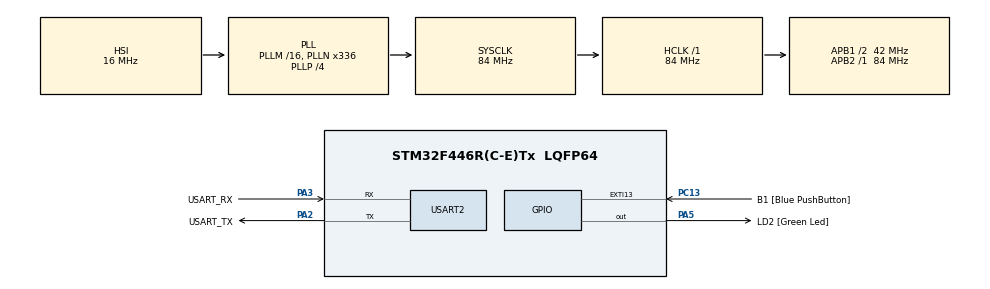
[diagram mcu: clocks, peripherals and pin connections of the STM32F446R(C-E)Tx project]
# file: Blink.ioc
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Mcu.Family=STM32F4
Mcu.Name=STM32F446R(C-E)Tx
Mcu.Package=LQFP64
NVIC.PriorityGroup=NVIC_PRIORITYGROUP_0
PA13.GPIO_Label=TMS
PA13.Mode=Serial_Wire
PA13.Signal=SYS_JTMS-SWDIO
PA14.GPIO_Label=TCK
PA14.Mode=Serial_Wire
PA14.Signal=SYS_JTCK-SWCLK
PA2.GPIO_Label=USART_TX
PA2.Mode=Asynchronous
PA2.Signal=USART2_TX
PA3.GPIO_Label=USART_RX
PA3.Mode=Asynchronous
PA3.Signal=USART2_RX
PA5.GPIO_Label=LD2 [Green Led]
PA5.Signal=GPIO_Output
PB3.GPIO_Label=SWO
PB3.Signal=SYS_JTDO-SWO
PC13.GPIO_Label=B1 [Blue PushButton]
PC13.GPIO_ModeDefaultEXTI=GPIO_MODE_IT_FALLING
PC13.Signal=GPXTI13
PC14-OSC32_IN.Mode=LSE-External-Oscillator
PC14-OSC32_IN.Signal=RCC_OSC32_IN
PC15-OSC32_OUT.Mode=LSE-External-Oscillator
PC15-OSC32_OUT.Signal=RCC_OSC32_OUT
PH0-OSC_IN.Mode=HSE-External-Oscillator
PH0-OSC_IN.Signal=RCC_OSC_IN
PH1-OSC_OUT.Mode=HSE-External-Oscillator
PH1-OSC_OUT.Signal=RCC_OSC_OUT
ProjectManager.HeapSize=0x200
ProjectManager.StackSize=0x400
ProjectManager.TargetToolchain=STM32CubeIDE
RCC.48MHZClocksFreq_Value=84000000
RCC.AHBFreq_Value=84000000
RCC.APB1CLKDivider=RCC_HCLK_DIV2
RCC.APB1Freq_Value=42000000
RCC.APB1TimFreq_Value=84000000
RCC.APB2Freq_Value=84000000
RCC.APB2TimFreq_Value=84000000
RCC.CortexFreq_Value=84000000
RCC.FLatency-AdvancedSettings=FLASH_LATENCY_2
RCC.HCLKFreq_Value=84000000
RCC.HSE_VALUE=8000000
RCC.HSI_VALUE=16000000
RCC.PLLN=336
RCC.PLLP=RCC_PLLP_DIV4
RCC.SYSCLKFreq_VALUE=84000000
RCC.SYSCLKSource=RCC_SYSCLKSOURCE_PLLCLK
RCC.USBFreq_Value=168000000
RCC.VCOOutputFreq_Value=336000000
USART2.VirtualMode=VM_ASYNC
board=NUCLEO-F446RE

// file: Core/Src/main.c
/* USER CODE BEGIN Header */
/**
  ******************************************************************************
  * @file           : main.c
  * @brief          : Main program body
  ******************************************************************************
  * @attention
  *
  * <h2><center>&copy; Copyright (c) 2021 STMicroelectronics.
  * All rights reserved.</center></h2>
  *
  * This software component is licensed by ST under BSD 3-Clause license,
  * the "License"; You may not use this file except in compliance with the
  * License. You may obtain a copy of the License at:
  *                        opensource.org/licenses/BSD-3-Clause
  *
  *	PC13 - user button B1
  *	PA5 - GREEN LED LD2
  *
  *
  ******************************************************************************
  */
/* USER CODE END Header */
#include "main.h"
#include <math.h>
#include <inttypes.h>
#include <stdlib.h>
#include <string.h>
#include "explode.h"

/* USER CODE BEGIN PD */
//#define PORT_A *((uint32_t*)(0x40000000UL+0x00020000UL+0x14))
#define ZERO 0
#define ONE 1

/* USER CODE END PD */

UART_HandleTypeDef huart2;

/* USER CODE BEGIN PV */
EXPLODE PINA;
EXPLODE PINB;
EXPLODE PINC;
EXPLODE PINH;

//doing everything again really pisses me off, why bother change to STM ?????

/* USER CODE END PV */

void SystemClock_Config(void);
static void MX_GPIO_Init(void);
static void MX_USART2_UART_Init(void);

int main(void)
{

  /* MCU Configuration--------------------------------------------------------*/

  /* Reset of all peripherals, Initializes the Flash interface and the Systick. */
  HAL_Init();

  /* Configure the system clock */
  SystemClock_Config();

  /* Initialize all configured peripherals */
  MX_GPIO_Init();
  MX_USART2_UART_Init();
  /* USER CODE BEGIN 2 */
  PINA = EXPLODEenable();
  PINB = EXPLODEenable();
  PINC = EXPLODEenable();
  PINH = EXPLODEenable();

  /* USER CODE END 2 */

  /* Infinite loop */
  /* USER CODE BEGIN WHILE */
  while (ONE)
  {
	  PINA.update(&PINA, GPIOA->IDR);
	  PINB.update(&PINB, GPIOB->IDR);
	  PINC.update(&PINC, GPIOC->IDR);
	  PINH.update(&PINH, GPIOH->IDR);

	  if(PINC.read(&PINC).LL & (ONE << 13)){
		  //GPIOA->ODR ^= (ONE << 5);
		  GPIOA->BSRR = (ONE << 5);
		  HAL_Delay(100);
	  	  GPIOA->BSRR = (ONE << (5+16));
	  	  HAL_Delay(100);
	  }else{
		  //GPIOA->ODR ^= (ONE << 5);
		  GPIOA->BSRR = (ONE << 5);
		  HAL_Delay(50);
		  GPIOA->BSRR = (ONE << (5+16));
		  HAL_Delay(50);
	  }

	  /****play around****/
	  //PORT_A^=0xFFFF;
	  //((GPIO_TypeDef *) GPIOA_BASE)->ODR^=0XFFFF; //cast address to specified var type.
	  /*******************/
	  //it has really nice features the gpio->bsrr is excellent,
	  //should have the same model for reading inputs.
	  //stm32 uses same programming method as I, except the
	  //hal library that ruins it, should be better,
	  //the structs should include procedures for setups.
	  //Having a object approach instead of pointers to objects.
	  //A questions of using dots instead of arrows.
	  //Have to spend allot of time just to become familiar with stm32,
	  //then allot of work to change to the style preferred.

    /* USER CODE END WHILE */

  }
}

void SystemClock_Config(void)
{
  RCC_OscInitTypeDef RCC_OscInitStruct = {0};
  RCC_ClkInitTypeDef RCC_ClkInitStruct = {0};

  /** Configure the main internal regulator output voltage
  */
  __HAL_RCC_PWR_CLK_ENABLE();
  __HAL_PWR_VOLTAGESCALING_CONFIG(PWR_REGULATOR_VOLTAGE_SCALE3);
  /** Initializes the RCC Oscillators according to the specified parameters
  * in the RCC_OscInitTypeDef structure.
  */
  RCC_OscInitStruct.OscillatorType = RCC_OSCILLATORTYPE_HSI;
  RCC_OscInitStruct.HSIState = RCC_HSI_ON;
  RCC_OscInitStruct.HSICalibrationValue = RCC_HSICALIBRATION_DEFAULT;
  RCC_OscInitStruct.PLL.PLLState = RCC_PLL_ON;
  RCC_OscInitStruct.PLL.PLLSource = RCC_PLLSOURCE_HSI;
  RCC_OscInitStruct.PLL.PLLM = 16;
  RCC_OscInitStruct.PLL.PLLN = 336;
  RCC_OscInitStruct.PLL.PLLP = RCC_PLLP_DIV4;
  RCC_OscInitStruct.PLL.PLLQ = 2;
  RCC_OscInitStruct.PLL.PLLR = 2;
  if (HAL_RCC_OscConfig(&RCC_OscInitStruct) != HAL_OK)
  {
    Error_Handler();
  }
  /** Initializes the CPU, AHB and APB buses clocks
  */
  RCC_ClkInitStruct.ClockType = RCC_CLOCKTYPE_HCLK|RCC_CLOCKTYPE_SYSCLK
                              |RCC_CLOCKTYPE_PCLK1|RCC_CLOCKTYPE_PCLK2;
  RCC_ClkInitStruct.SYSCLKSource = RCC_SYSCLKSOURCE_PLLCLK;
  RCC_ClkInitStruct.AHBCLKDivider = RCC_SYSCLK_DIV1;
  RCC_ClkInitStruct.APB1CLKDivider = RCC_HCLK_DIV2;
  RCC_ClkInitStruct.APB2CLKDivider = RCC_HCLK_DIV1;

  if (HAL_RCC_ClockConfig(&RCC_ClkInitStruct, FLASH_LATENCY_2) != HAL_OK)
  {
    Error_Handler();
  }
}

static void MX_USART2_UART_Init(void)
{

  huart2.Instance = USART2;
  huart2.Init.BaudRate = 115200;
  huart2.Init.WordLength = UART_WORDLENGTH_8B;
  huart2.Init.StopBits = UART_STOPBITS_1;
  huart2.Init.Parity = UART_PARITY_NONE;
  huart2.Init.Mode = UART_MODE_TX_RX;
  huart2.Init.HwFlowCtl = UART_HWCONTROL_NONE;
  huart2.Init.OverSampling = UART_OVERSAMPLING_16;
  if (HAL_UART_Init(&huart2) != HAL_OK)
  {
    Error_Handler();
  }

}

static void MX_GPIO_Init(void)
{
  GPIO_InitTypeDef GPIO_InitStruct = {0};

  /* GPIO Ports Clock Enable */
  __HAL_RCC_GPIOC_CLK_ENABLE();
  __HAL_RCC_GPIOH_CLK_ENABLE();
  __HAL_RCC_GPIOA_CLK_ENABLE();
  __HAL_RCC_GPIOB_CLK_ENABLE();

  /*Configure GPIO pin Output Level */
  HAL_GPIO_WritePin(LD2_GPIO_Port, LD2_Pin, GPIO_PIN_RESET);

  /*Configure GPIO pin : B1_Pin */
  GPIO_InitStruct.Pin = B1_Pin;
  GPIO_InitStruct.Mode = GPIO_MODE_IT_FALLING;
  GPIO_InitStruct.Pull = GPIO_NOPULL;
  HAL_GPIO_Init(B1_GPIO_Port, &GPIO_InitStruct);

  /*Configure GPIO pin : LD2_Pin */
  GPIO_InitStruct.Pin = LD2_Pin;
  GPIO_InitStruct.Mode = GPIO_MODE_OUTPUT_PP;
  GPIO_InitStruct.Pull = GPIO_NOPULL;
  GPIO_InitStruct.Speed = GPIO_SPEED_FREQ_LOW;
  HAL_GPIO_Init(LD2_GPIO_Port, &GPIO_InitStruct);

}

void Error_Handler(void)
{
  __disable_irq();
  while (1)
  {
  }
}

/************************ (C) COPYRIGHT STMicroelectronics *****END OF FILE****/
